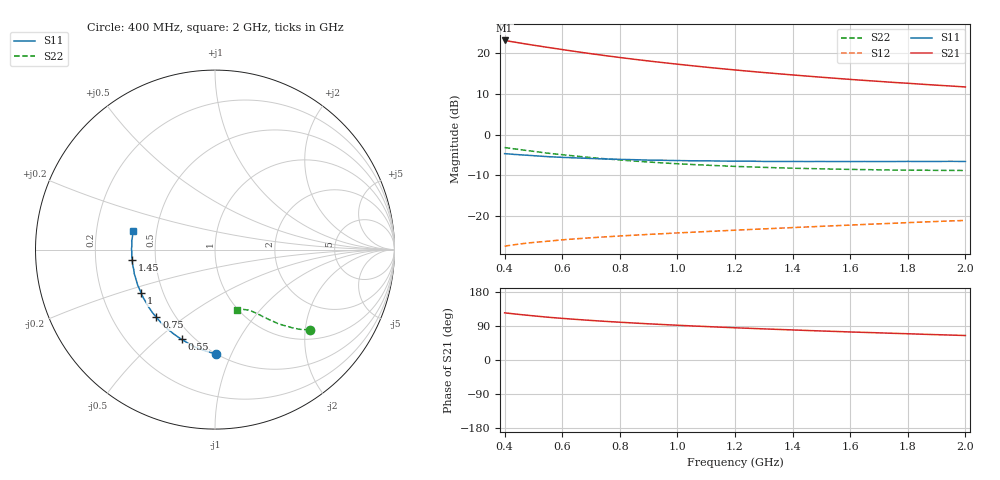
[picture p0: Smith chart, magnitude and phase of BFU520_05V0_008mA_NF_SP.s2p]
! Filename:  P:\Prog\Test\Noise\ATS_data\Testdata_Net\06 Compressed Noise after Statistics\BFU520_APG2013_37_A05_05p0V_008mA_NF_CM01_D.sf
! Date/Time: Fri 26/Apr/2013 14:13:10
! BFU520_APG2013_37_A05_05p0V_1to20mA_NF_CM01_Bias5_R.sf
! Noise Parameter Data File
! BFU520_APG2013_37_A05_05p0V_1to20mA_NF_CM01
! Date/time: Tue Apr 23 16:46:24 2013
! VAR V_out= 5.000000
! VAR I_out= 7.995000
! VAR V_in= 0.835500
! VAR I_in= 0.091105
! Device data file deembeded for feedlines and parallel
! Original file: \06 Compressed Noise after Statistics\BFU520_APG2013_37_A05_05p0V_008mA_NF_CM01_R.sf
! Feed-files: PR047V01_250413_Feed1.s2p, PR047V01_250413_Feed2.s2p
! Parallel-file: PR047V01_250413_Par.s2p
# MHz S MA R 50
!  Freq-MHz  S11-mag  S11-arg  S21-mag  S21-arg  S12-mag  S12-arg  S22-mag  S22-arg
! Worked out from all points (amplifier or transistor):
!   37 points, 400 MHz to 2 GHz, reference 50 ohm
!   highest |S21| = 23.2 dB at 400 MHz (marker M1)
!   |S21| within 3 dB of that: start of sweep to 673.6 MHz
!   unconditionally stable (mu >= 1): 1.926 GHz to end of sweep
!   at 500 MHz: K = 0.42, MSG = 24.3 dB, |S12| = -26.6 dB
!   at 1.1 GHz: K = 0.76, MSG = 20.3 dB, |S12| = -23.9 dB
!   at 2 GHz: K = 1.02, MAG = 15.6 dB, |S12| = -21.2 dB
!   lowest NFmin = 0.79 dB at 480 MHz
!   S11 on the Smith chart (normalised r, x): 400 MHz: 0.50, -0.88; 550 MHz: 0.43, -0.60; 750 MHz: 0.39, -0.40; 1 GHz: 0.38, -0.24; 1.45 GHz: 0.37, -0.05; 2 GHz: 0.37, +0.10
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400  0.5813 -89.3  14.44 124.5  0.04206 53.3  0.6911 -40.3
433  0.5692 -94.3  13.8 121.7  0.0438 52.0  0.6662 -42.0
460  0.5606 -98.2  13.31 119.5  0.04511 51.0  0.648 -43.2
500  0.5485 -103.8  12.63 116.5  0.04677 49.8  0.6209 -44.9
550  0.5337 -110.5  11.87 112.9  0.04843 48.5  0.5888 -46.6
600  0.5233 -116.1  11.16 109.9  0.05032 47.6  0.5642 -48.2
650  0.5147 -121.4  10.51 107.0  0.05194 46.8  0.5411 -49.6
700  0.5069 -126.1  9.915 104.4  0.05335 46.3  0.5202 -50.6
750  0.4992 -130.8  9.385 102.0  0.05481 45.9  0.5023 -51.8
800  0.4943 -134.9  8.903 99.7  0.05615 45.7  0.4855 -52.8
850  0.4895 -138.9  8.466 97.5  0.05747 45.5  0.471 -53.6
900  0.4837 -142.8  8.065 95.5  0.05873 45.3  0.4584 -54.5
950  0.4813 -146.2  7.701 93.6  0.05995 45.3  0.4463 -55.2
1000  0.4776 -149.3  7.364 91.7  0.06123 45.4  0.4365 -55.9
1050  0.4747 -152.8  7.052 89.9  0.06243 45.4  0.4273 -56.8
1200  0.4695 -161.2  6.251 85.0  0.06615 45.8  0.4049 -58.8
1300  0.4662 -166.0  5.811 82.1  0.06869 46.2  0.3938 -60.0
1450  0.4647 -173.1  5.252 77.9  0.07258 46.7  0.3811 -62.0
1500  0.4655 -175.0  5.087 76.6  0.07387 46.9  0.3777 -62.6
1600  0.4639 -179.2  4.782 74.0  0.07647 47.2  0.3718 -64.0
1750  0.4647 175.2  4.391 70.4  0.08056 47.8  0.3647 -66.1
2000  0.4657 167.2  3.857 64.6  0.08727 48.4  0.3601 -69.9
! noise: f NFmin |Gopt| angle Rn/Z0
400  0.854  0.07136  44.36  0.1164
460  0.8039  0.05813  86.05  0.0961
600  0.8994  0.06484  66.15  0.1085
800  0.8399  0.06194  100.8  0.1038
1000  0.8974  0.08936  114.4  0.0941
1200  0.9144  0.09737  125.1  0.0964
1400  0.9402  0.117  139.7  0.0912
1600  0.979  0.1291  156.6  0.0872
1800  0.9332  0.1523  162.6  0.084
2000  1.036  0.1507  175.8  0.0907
